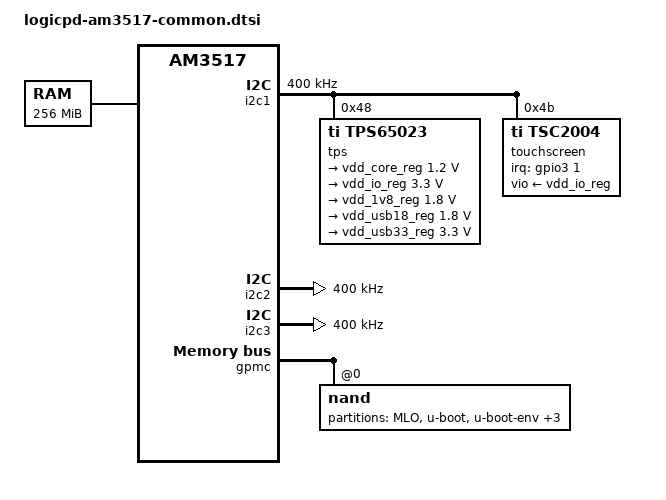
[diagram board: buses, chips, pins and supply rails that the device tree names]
/*
 * Copyright (C) 2016 Derald D. Woods <woods.technical@gmail.com>
 *
 * Based on am3517-evm.dts
 *
 * This program is free software; you can redistribute it and/or modify
 * it under the terms of the GNU General Public License version 2 as
 * published by the Free Software Foundation.
 */

#include "am3517.dtsi"

/ {
	cpus {
		cpu@0 {
			/* OMAP343x/OMAP35xx variants OPP1-5 */
			operating-points = <
				/* kHz    uV */
				125000  1200000
				250000  1200000
				500000  1200000
				550000  1200000
				600000  1200000
			>;
			cpu0-supply = <&vdd_core_reg>;
		};
	};

	memory {
		device_type = "memory";
		reg = <0x80000000 0x10000000>; /* 256 MB */
	};
};

&omap3_pmx_core {
	tsc2004_pins: pinmux_tsc2004_pins {
		pinctrl-single,pins = <
			OMAP3_CORE1_IOPAD(0x20d2, PIN_INPUT | MUX_MODE4) /* gpmc_wait3.gpio_65 */
		>;
	};
};

&davinci_emac {
	status = "disabled";
};

&davinci_mdio {
	status = "disabled";
};

&i2c1 {
	status = "okay";

	clock-frequency = <400000>;

	tps: tps65023@48 {
		compatible = "ti,tps65023";
		reg = <0x48>;

		regulators {
			vdd_core_reg: VDCDC1 {
				regulator-name = "vdd_core";
				compatible = "regulator-fixed";
				regulator-always-on;
				regulator-min-microvolt = <1200000>;
				regulator-max-microvolt = <1200000>;
			};

			vdd_io_reg: VDCDC2 {
				regulator-name = "vdd_io";
				compatible = "regulator-fixed";
				regulator-always-on;
				regulator-min-microvolt = <3300000>;
				regulator-max-microvolt = <3300000>;
			};

			vdd_1v8_reg: VDCDC3 {
				regulator-name = "vdd_1v8";
				compatible = "regulator-fixed";
				regulator-always-on;
				regulator-min-microvolt = <1800000>;
				regulator-max-microvolt = <1800000>;
			};

			vdd_usb18_reg: LDO1 {
				regulator-name = "vdd_usb18";
				compatible = "regulator-fixed";
				regulator-always-on;
				regulator-min-microvolt = <1800000>;
				regulator-max-microvolt = <1800000>;
			};

			vdd_usb33_reg: LDO2 {
				regulator-name = "vdd_usb33";
				compatible = "regulator-fixed";
				regulator-always-on;
				regulator-min-microvolt = <3300000>;
				regulator-max-microvolt = <3300000>;
			};
		};
	};

	touchscreen: tsc2004@4b {
		compatible = "ti,tsc2004";
		reg = <0x4b>;

		vio-supply = <&vdd_io_reg>;

		pinctrl-names = "default";
		pinctrl-0 = <&tsc2004_pins>;
		interrupts-extended = <&gpio3 1 IRQ_TYPE_EDGE_RISING>; /* gpio_65 */

		touchscreen-fuzz-x = <4>;
		touchscreen-fuzz-y = <7>;
		touchscreen-fuzz-pressure = <2>;
		touchscreen-size-x = <4096>;
		touchscreen-size-y = <4096>;
		touchscreen-max-pressure = <2048>;

		ti,x-plate-ohms = <280>;
		ti,esd-recovery-timeout-ms = <8000>;
	};
};

&i2c2 {
	clock-frequency = <400000>;
};

&i2c3 {
	clock-frequency = <400000>;
};

&mmc1 {
	status = "disabled";
};

&mmc2 {
	status = "disabled";
};

&mmc3 {
	status = "disabled";
};

&gpmc {
	ranges = <0 0 0x00000000 0x1000000>;	/* CS0: 16MB for NAND */

	nand@0,0 {
		linux,mtd-name = "micron,mt29f4g16abbdah4";
		reg = <0 0 4>; /* CS0, offset 0, IO size 4 */
		nand-bus-width = <16>;
		ti,nand-ecc-opt = "bch8";
		gpmc,sync-clk-ps = <0>;
		gpmc,cs-on-ns = <0>;
		gpmc,cs-rd-off-ns = <44>;
		gpmc,cs-wr-off-ns = <44>;
		gpmc,adv-on-ns = <6>;
		gpmc,adv-rd-off-ns = <34>;
		gpmc,adv-wr-off-ns = <44>;
		gpmc,we-off-ns = <40>;
		gpmc,oe-off-ns = <54>;
		gpmc,access-ns = <64>;
		gpmc,rd-cycle-ns = <82>;
		gpmc,wr-cycle-ns = <82>;
		gpmc,wr-access-ns = <40>;
		gpmc,wr-data-mux-bus-ns = <0>;
		gpmc,device-width = <2>;
		#address-cells = <1>;
		#size-cells = <1>;

		partition@0 {
			label = "MLO";
			reg = <0 0x80000>;
		};

		partition@80000 {
			label = "u-boot";
			reg = <0x80000 0x1e0000>;
		};

		partition@260000 {
			label = "u-boot-env";
			reg = <0x260000 0x40000>;
		};

		partition@2a0000 {
			label = "kernel";
			reg = <0x2a0000 0x800000>;
		};

		partition@aa0000 {
			label = "dtb";
			reg = <0xaa0000 0x800000>;
		};

		partition@b20000 {
			label = "rootfs";
			reg = <0xb20000 0>;	/* 0 = MTDPART_SIZ_FULL */
		};
	};
};
